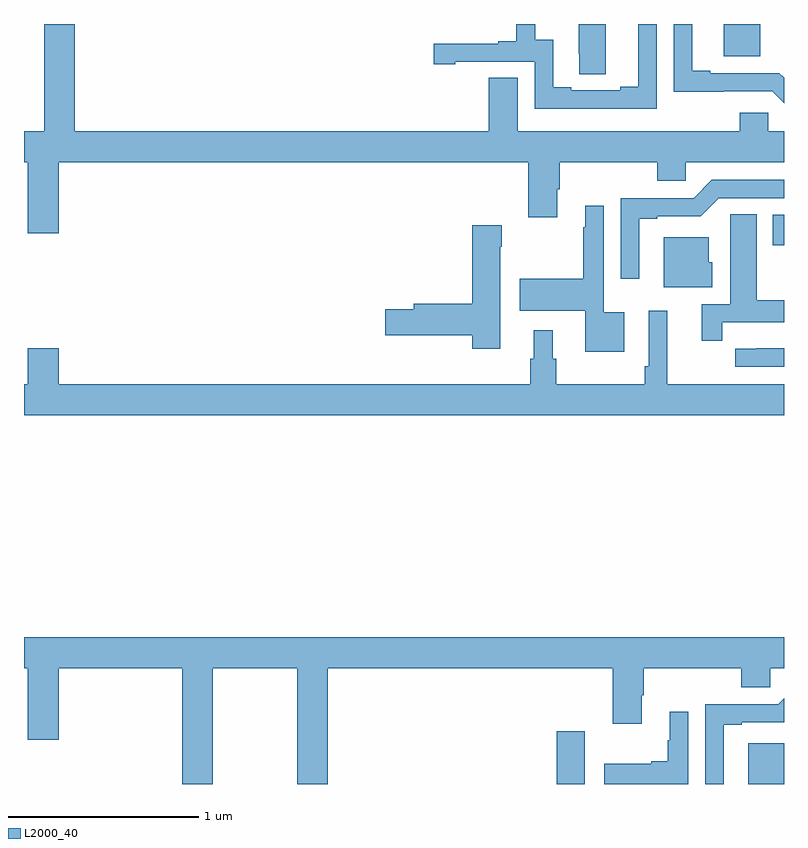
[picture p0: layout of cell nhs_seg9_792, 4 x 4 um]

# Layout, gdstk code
import gdstk
lib = gdstk.Library(unit=1e-6, precision=1e-09)
def R(c, l, rs):  # rectangles x0, y0, x1, y1
    for r in rs: c.add(gdstk.rectangle(r[:2], r[2:], *l))
def P(c, l, *ps):  # polygons
    for p in ps: c.add(gdstk.Polygon(p, *l))
L2000_40 = (2000, 40)

nhs_seg9_792 = lib.new_cell('nhs_seg9_792')
R(nhs_seg9_792, L2000_40, [(155.804,1174.5,155.95,1174.777), (156.812,1174.5,157,1174.714), (156.941,1177.336,157,1177.495), (156.683,1178.33,156.874,1178.5)])
P(nhs_seg9_792, L2000_40, [(156.061,1178.5),(155.921,1178.5),(155.921,1178.344),(155.922,1178.344),(155.922,1178.236),(156.061,1178.236)],
  [(156.33,1178.5),(156.233,1178.5),(156.233,1178.171),(156.137,1178.171),(156.137,1178.151),(155.881,1178.151),(155.881,1178.166),(155.785,1178.166),(155.785,1178.417),(155.691,1178.417),(155.691,1178.5),(155.591,1178.5),(155.591,1178.41),(155.495,1178.41),(155.495,1178.397),(155.157,1178.397),(155.157,1178.289),(155.269,1178.289),(155.269,1178.301),(155.688,1178.301),(155.688,1178.055),(156.33,1178.055)],
  [(157,1178.216),(156.975,1178.241),(156.613,1178.241),(156.613,1178.254),(156.517,1178.254),(156.517,1178.5),(156.42,1178.5),(156.42,1178.144),(156.683,1178.144),(156.683,1178.145),(156.939,1178.145),(157,1178.084)],
  [(153.184,1177.772),(155.654,1177.772),(155.654,1177.482),(155.806,1177.482),(155.806,1177.63),(155.819,1177.63),(155.819,1177.772),(156.332,1177.772),(156.332,1177.674),(156.483,1177.674),(156.483,1177.772),(157,1177.772),(157,1177.936),(156.918,1177.936),(156.918,1178.034),(156.767,1178.034),(156.767,1177.936),(155.599,1177.936),(155.599,1178.216),(155.447,1178.216),(155.447,1177.936),(153.266,1177.936),(153.266,1178.5),(153.106,1178.5),(153.106,1177.936),(153,1177.936),(153,1177.772),(153.02,1177.772),(153.02,1177.398),(153.184,1177.398)],
  [(156.238,1177.476),(156.334,1177.476),(156.334,1177.488),(156.561,1177.488),(156.657,1177.584),(157,1177.584),(157,1177.68),(156.621,1177.68),(156.525,1177.584),(156.141,1177.584),(156.141,1177.158),(156.238,1177.158)],
  [(156.16,1176.982),(156.051,1176.982),(156.051,1177.543),(155.954,1177.543),(155.954,1177.43),(155.943,1177.43),(155.943,1177.158),(155.61,1177.158),(155.61,1176.992),(155.954,1176.992),(155.954,1176.776),(156.16,1176.776)],
  [(156.674,1176.93),(157,1176.93),(157,1177.047),(156.856,1177.047),(156.856,1177.499),(156.717,1177.499),(156.717,1177.388),(156.716,1177.388),(156.716,1177.026),(156.566,1177.026),(156.566,1176.834),(156.674,1176.834)],
  [(155.506,1177.328),(155.514,1177.328),(155.514,1177.441),(155.36,1177.441),(155.36,1177.028),(155.051,1177.028),(155.051,1176.998),(154.902,1176.998),(154.902,1176.863),(155.36,1176.863),(155.36,1176.792),(155.506,1176.792)],
  [(156.622,1177.245),(156.604,1177.245),(156.604,1177.378),(156.368,1177.378),(156.368,1177.115),(156.622,1177.115)],
  [(157,1176.604),(156.386,1176.604),(156.386,1176.991),(156.288,1176.991),(156.288,1176.7),(156.268,1176.7),(156.268,1176.604),(155.801,1176.604),(155.801,1176.738),(155.782,1176.738),(155.782,1176.889),(155.684,1176.889),(155.684,1176.738),(155.665,1176.738),(155.665,1176.604),(153.184,1176.604),(153.184,1176.793),(153.02,1176.793),(153.02,1176.604),(153,1176.604),(153,1176.44),(157,1176.44)],
  [(157,1176.793),(156.856,1176.793),(156.856,1176.792),(156.744,1176.792),(156.744,1176.696),(157,1176.696)],
  [(153.993,1175.108),(154.438,1175.108),(154.438,1174.5),(154.598,1174.5),(154.598,1175.108),(156.098,1175.108),(156.098,1174.818),(156.25,1174.818),(156.25,1174.966),(156.263,1174.966),(156.263,1175.108),(156.776,1175.108),(156.776,1175.01),(156.927,1175.01),(156.927,1175.108),(157,1175.108),(157,1175.272),(153,1175.272),(153,1175.108),(153.02,1175.108),(153.02,1174.734),(153.184,1174.734),(153.184,1175.108),(153.833,1175.108),(153.833,1174.5),(153.993,1174.5)],
  [(156.682,1174.812),(156.778,1174.812),(156.778,1174.824),(157,1174.824),(157,1174.951),(156.969,1174.92),(156.585,1174.92),(156.585,1174.5),(156.682,1174.5)],
  [(156.495,1174.879),(156.398,1174.879),(156.398,1174.73),(156.387,1174.73),(156.387,1174.619),(156.302,1174.619),(156.302,1174.606),(156.054,1174.606),(156.054,1174.5),(156.495,1174.5)])

lib.write_gds('nhs_seg9_792.gds')
